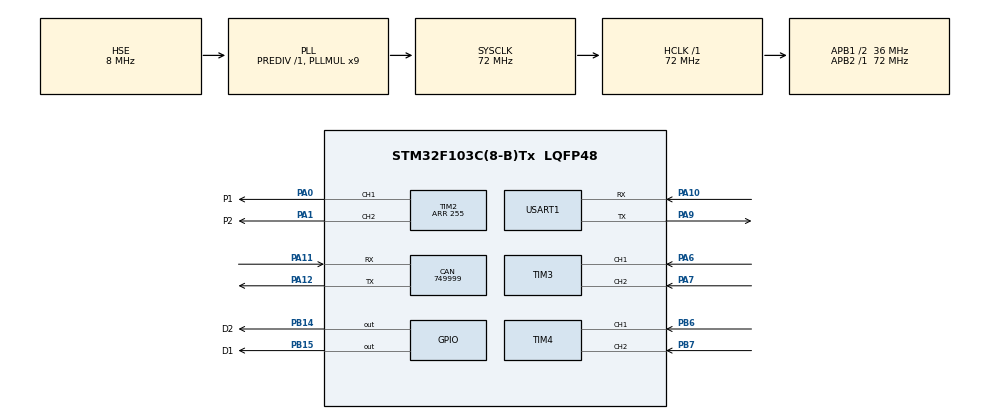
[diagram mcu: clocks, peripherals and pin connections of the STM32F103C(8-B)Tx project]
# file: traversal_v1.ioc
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CAN.BS1=CAN_BS1_1TQ
CAN.BS2=CAN_BS2_1TQ
CAN.CalculateBaudRate=749999
CAN.CalculateTimeBit=1333
CAN.CalculateTimeQuantum=444.44444444444446
Dma.Request0=USART1_RX
Dma.USART1_RX.0.Direction=DMA_PERIPH_TO_MEMORY
Dma.USART1_RX.0.Instance=DMA1_Channel5
Dma.USART1_RX.0.MemDataAlignment=DMA_MDATAALIGN_BYTE
Dma.USART1_RX.0.MemInc=DMA_MINC_ENABLE
Dma.USART1_RX.0.Mode=DMA_CIRCULAR
Dma.USART1_RX.0.PeriphDataAlignment=DMA_PDATAALIGN_BYTE
Dma.USART1_RX.0.PeriphInc=DMA_PINC_DISABLE
Dma.USART1_RX.0.Priority=DMA_PRIORITY_LOW
Mcu.Family=STM32F1
Mcu.Name=STM32F103C(8-B)Tx
Mcu.Package=LQFP48
NVIC.DMA1_Channel5_IRQn=true\:0\:0\:false\:false\:true\:false\:true\:true
NVIC.PriorityGroup=NVIC_PRIORITYGROUP_4
PA0-WKUP.GPIO_Label=P1
PA0-WKUP.Signal=S_TIM2_CH1_ETR
PA1.GPIO_Label=P2
PA1.Signal=S_TIM2_CH2
PA10.Mode=Asynchronous
PA10.Signal=USART1_RX
PA11.Mode=CAN_Activate
PA11.Signal=CAN_RX
PA12.Mode=CAN_Activate
PA12.Signal=CAN_TX
PA13.Mode=Serial_Wire
PA13.Signal=SYS_JTMS-SWDIO
PA14.Mode=Serial_Wire
PA14.Signal=SYS_JTCK-SWCLK
PA6.GPIO_PuPd=GPIO_PULLUP
PA6.Signal=S_TIM3_CH1
PA7.GPIO_PuPd=GPIO_PULLUP
PA7.Signal=S_TIM3_CH2
PA9.Mode=Asynchronous
PA9.Signal=USART1_TX
PB14.GPIO_Label=D2
PB14.Signal=GPIO_Output
PB15.GPIO_Label=D1
PB15.Signal=GPIO_Output
PB6.GPIO_PuPd=GPIO_PULLUP
PB6.Signal=S_TIM4_CH1
PB7.GPIO_PuPd=GPIO_PULLUP
PB7.Signal=S_TIM4_CH2
PD0-OSC_IN.Mode=HSE-External-Oscillator
PD0-OSC_IN.Signal=RCC_OSC_IN
PD1-OSC_OUT.Mode=HSE-External-Oscillator
PD1-OSC_OUT.Signal=RCC_OSC_OUT
ProjectManager.HeapSize=0x200
ProjectManager.StackSize=0x400
ProjectManager.TargetToolchain=STM32CubeIDE
RCC.AHBFreq_Value=72000000
RCC.APB1CLKDivider=RCC_HCLK_DIV2
RCC.APB1Freq_Value=36000000
RCC.APB1TimFreq_Value=72000000
RCC.APB2Freq_Value=72000000
RCC.APB2TimFreq_Value=72000000
RCC.HCLKFreq_Value=72000000
RCC.PLLMUL=RCC_PLL_MUL9
RCC.PLLSourceVirtual=RCC_PLLSOURCE_HSE
RCC.SYSCLKFreq_VALUE=72000000
RCC.SYSCLKSource=RCC_SYSCLKSOURCE_PLLCLK
RCC.USBFreq_Value=72000000
SH.S_TIM2_CH1_ETR.0=TIM2_CH1,PWM Generation1 CH1
SH.S_TIM2_CH2.0=TIM2_CH2,PWM Generation2 CH2
SH.S_TIM3_CH1.0=TIM3_CH1,Encoder_Interface
SH.S_TIM3_CH2.0=TIM3_CH2,Encoder_Interface
SH.S_TIM4_CH1.0=TIM4_CH1,Encoder_Interface
SH.S_TIM4_CH2.0=TIM4_CH2,Encoder_Interface
TIM1.Prescaler=71
TIM2.AutoReloadPreload=TIM_AUTORELOAD_PRELOAD_ENABLE
TIM2.Channel-PWM\ Generation1\ CH1=TIM_CHANNEL_1
TIM2.Channel-PWM\ Generation2\ CH2=TIM_CHANNEL_2
TIM2.Period=255
USART1.VirtualMode=VM_ASYNC
VP_TIM1_VS_ClockSourceINT.Mode=Internal
VP_TIM2_VS_ClockSourceINT.Mode=Internal
board=custom

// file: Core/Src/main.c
/* USER CODE BEGIN Header */
/**
  ******************************************************************************
  * @file           : main.c
  * @brief          : Main program body
  ******************************************************************************
  * @attention
  *
  * Copyright (c) 2025 STMicroelectronics.
  * All rights reserved.
  *
  * This software is licensed under terms that can be found in the LICENSE file
  * in the root directory of this software component.
  * If no LICENSE file comes with this software, it is provided AS-IS.
  *
  ******************************************************************************
  */
/* USER CODE END Header */
#include "main.h"

/* USER CODE BEGIN PD */
#define ENCODER_GEAR 9.0f
#define WHEEL_GEAR   108.0f
/* USER CODE END PD */

CAN_HandleTypeDef hcan;

TIM_HandleTypeDef htim1;
TIM_HandleTypeDef htim2;
TIM_HandleTypeDef htim3;
TIM_HandleTypeDef htim4;

UART_HandleTypeDef huart1;
DMA_HandleTypeDef hdma_usart1_rx;

/* USER CODE BEGIN PV */
volatile uint8_t UART1_rxBuffer[2];

volatile uint32_t tick_stack_TIM3[2] = {0, 0};
volatile uint32_t TIM3_CNT_stack[2] = {0, 0};

volatile uint32_t tick_stack_TIM4[2] = {0, 0};
volatile uint32_t TIM4_CNT_stack[2] = {0, 0};

uint32_t RPM_A;
uint32_t RPM_B;

/* USER CODE END PV */

void SystemClock_Config(void);
static void MX_GPIO_Init(void);
static void MX_DMA_Init(void);
static void MX_CAN_Init(void);
static void MX_TIM2_Init(void);
static void MX_TIM3_Init(void);
static void MX_TIM4_Init(void);
static void MX_USART1_UART_Init(void);
static void MX_TIM1_Init(void);

/* USER CODE BEGIN 0 */
//void HAL_UART_RxCpltCallback(UART_HandleTypeDef *huart) {
//	if (huart->Instance == USART1) {
//	    HAL_UART_Transmit(&huart1, UART1_rxBuffer, 2, HAL_MAX_DELAY);
//
//	}
//}

void setMotor(uint8_t joystick[2]) {
    int x = (int)joystick[0] - 127;
    int y = (int)joystick[1] - 127;

    if (abs(y) > abs(x)) {
        // forward / backward
        if (y > 0) {
            HAL_GPIO_WritePin(GPIOB, GPIO_PIN_15, GPIO_PIN_RESET);
            HAL_GPIO_WritePin(GPIOB, GPIO_PIN_14, GPIO_PIN_RESET);// FORWARD
            TIM2->CCR1 = 2 * abs(y);
            TIM2->CCR2 = 2 * abs(y);// speed = y
        } else {
        	HAL_GPIO_WritePin(GPIOB, GPIO_PIN_15, GPIO_PIN_SET);
			HAL_GPIO_WritePin(GPIOB, GPIO_PIN_14, GPIO_PIN_SET);// BACKWARD
			TIM2->CCR1 = 2 * abs(y);
			TIM2->CCR2 = 2 * abs(y);// speed = -y
        }
    } else if (abs(x) > abs(y)) {
        // rotation
        if (x > 0) {
        	HAL_GPIO_WritePin(GPIOB, GPIO_PIN_15, GPIO_PIN_RESET);
			HAL_GPIO_WritePin(GPIOB, GPIO_PIN_14, GPIO_PIN_SET);// CW
			TIM2->CCR1 = 2 * abs(x);
			TIM2->CCR2 = 2 * abs(x);// speed = x
        } else {
        	HAL_GPIO_WritePin(GPIOB, GPIO_PIN_15, GPIO_PIN_SET);
			HAL_GPIO_WritePin(GPIOB, GPIO_PIN_14, GPIO_PIN_RESET);// CCW
			TIM2->CCR1 = 2 * abs(x);
			TIM2->CCR2 = 2 * abs(x);// speed = -x
        }
    } else {
    	TIM2->CCR1 = 0;
		TIM2->CCR2 = 0;
    }
}

int pwmL;
int pwmR;
int max;

//void setMotorDifferential(volatile uint8_t joystick[2]) {
//    int x = (int)joystick[0] - 127;
//    int y = (int)joystick[1] - 127;
//
//	pwmL = abs(2 * (y - x));
//	pwmR = abs(2 * (y + x));
//
//	if (pwmL > 255) pwmL = 255;
//	if (pwmR > 255) pwmR = 255;
//
////    pwmL = abs(y - x);
////    pwmR = abs(y + x);
//
//	TIM2->CCR2 = pwmL;
//	TIM2->CCR1 = pwmR;
//
//	if (y >= 0) {
//		HAL_GPIO_WritePin(GPIOB, GPIO_PIN_15, GPIO_PIN_RESET);
//		HAL_GPIO_WritePin(GPIOB, GPIO_PIN_14, GPIO_PIN_RESET);// FORWARD
//	} else {
//		HAL_GPIO_WritePin(GPIOB, GPIO_PIN_15, GPIO_PIN_SET);
//		HAL_GPIO_WritePin(GPIOB, GPIO_PIN_14, GPIO_PIN_SET);// BACKWARD
//	}
//}

void setMotorDifferential(volatile uint8_t joystick[2]) {
    int x = (int)joystick[0] - 127;
    int y = (int)joystick[1] - 127;

    pwmL = y;
    pwmR = y;

    if (y >= 0) {
        HAL_GPIO_WritePin(GPIOB, GPIO_PIN_15, GPIO_PIN_RESET);
        HAL_GPIO_WritePin(GPIOB, GPIO_PIN_14, GPIO_PIN_RESET);
        if (x > 0) {
			pwmR -= x;
		} else if (x < 0) {
			pwmL += x;
		}
    } else {
        HAL_GPIO_WritePin(GPIOB, GPIO_PIN_15, GPIO_PIN_SET);
        HAL_GPIO_WritePin(GPIOB, GPIO_PIN_14, GPIO_PIN_SET);
        if (x > 0) {
			pwmR += x;
		} else if (x < 0) {
			pwmL -= x;
		}
    }

    if (pwmL > 255) pwmL = 255;
	if (pwmR > 255) pwmR = 255;

	TIM2->CCR1 = abs(pwmL * 2);
	TIM2->CCR2 = abs(pwmR * 2);
}

#define RPM_SAMPLE_PERIOD_US 2000

void updateAndCapture(volatile uint32_t tick_stack[2],
					  volatile uint32_t TIMx_CNT_stack[2],
					  TIM_TypeDef *tick_TIMx,
					  TIM_TypeDef *enc_TIMx)
{
	static uint32_t last_sample_us = 0;
	uint32_t now = tick_TIMx->CNT;
	if ((uint32_t)(now - last_sample_us) < RPM_SAMPLE_PERIOD_US) return;
	last_sample_us = now;

	tick_stack[1] = tick_stack[0];
	TIMx_CNT_stack[1] = TIMx_CNT_stack[0];
	tick_stack[0] = tick_TIMx->CNT;
	TIMx_CNT_stack[0] = enc_TIMx->CNT;
}

//void updateAndCapture(volatile uint32_t tick_stack[2],
//					  volatile uint32_t TIMx_CNT_stack[2],
//					  TIM_TypeDef *tick_TIMx,
//					  TIM_TypeDef *enc_TIMx)
//{
//	tick_stack[1] = tick_stack[0];
//	TIMx_CNT_stack[1] = TIMx_CNT_stack[0];
//	tick_stack[0] = tick_TIMx->CNT;
//	TIMx_CNT_stack[0] = enc_TIMx->CNT;
//}

uint32_t calculateRPM(volatile uint32_t tick_stack[2],
					  volatile uint32_t cnt_stack[2],
					  int PPR,
					  float encoder_gear_ratio,
					  float wheel_gear_ratio)
{
    uint32_t dt_us = tick_stack[0] - tick_stack[1];
    uint32_t dc    = cnt_stack[0]  - cnt_stack[1];

    if (dt_us == 0) return 0;

    // RPM = (dc * 60 * 1e6) / (PPR * dt_us)
    uint32_t rpm_encoder = (dc * 60000000UL) / (PPR * dt_us);

    // motor RPM (undo encoder gearbox)
    float rpm_motor = rpm_encoder * encoder_gear_ratio;

    // wheel RPM (apply wheel gearbox)
    float rpm_wheel = rpm_motor / wheel_gear_ratio;

    return (uint32_t)rpm_wheel;
}

/* USER CODE END 0 */

int main(void)
{

  /* MCU Configuration--------------------------------------------------------*/

  /* Reset of all peripherals, Initializes the Flash interface and the Systick. */
  HAL_Init();

  /* Configure the system clock */
  SystemClock_Config();

  /* Initialize all configured peripherals */
  MX_GPIO_Init();
  MX_DMA_Init();
  MX_CAN_Init();
  MX_TIM2_Init();
  MX_TIM3_Init();
  MX_TIM4_Init();
  MX_USART1_UART_Init();
  MX_TIM1_Init();
  /* USER CODE BEGIN 2 */
  HAL_UART_Receive_DMA(&huart1, UART1_rxBuffer, 2);
  HAL_TIM_PWM_Start(&htim2, TIM_CHANNEL_1);
  HAL_TIM_PWM_Start(&htim2, TIM_CHANNEL_2);
  HAL_TIM_Encoder_Start(&htim3, TIM_CHANNEL_ALL);
  HAL_TIM_Encoder_Start(&htim4, TIM_CHANNEL_ALL);
  HAL_TIM_Base_Start(&htim1);

  TIM2->CCR1 = 0; //left
  TIM2->CCR2 = 0; //right

  /* USER CODE END 2 */

  /* Infinite loop */
  while (1)
  {

    /* USER CODE BEGIN 3 */
//	  setMotor(UART1_rxBuffer);
	  setMotor(UART1_rxBuffer);
	  //note: 72MHz clk -> 1 tick = 13.88 ns, 1us = 72 ticks. tick_stack[0] = current tick, tick_stack[1] = previous tick
	  updateAndCapture(tick_stack_TIM3, TIM3_CNT_stack, TIM1, TIM3);
	  updateAndCapture(tick_stack_TIM4, TIM4_CNT_stack, TIM1, TIM4);

	  RPM_A = calculateRPM(tick_stack_TIM3, TIM3_CNT_stack, 600, ENCODER_GEAR, WHEEL_GEAR);
	  RPM_B = calculateRPM(tick_stack_TIM4, TIM4_CNT_stack, 600, ENCODER_GEAR, WHEEL_GEAR);

  }
  /* USER CODE END 3 */
}

void SystemClock_Config(void)
{
  RCC_OscInitTypeDef RCC_OscInitStruct = {0};
  RCC_ClkInitTypeDef RCC_ClkInitStruct = {0};

  /** Initializes the RCC Oscillators according to the specified parameters
  * in the RCC_OscInitTypeDef structure.
  */
  RCC_OscInitStruct.OscillatorType = RCC_OSCILLATORTYPE_HSE;
  RCC_OscInitStruct.HSEState = RCC_HSE_ON;
  RCC_OscInitStruct.HSEPredivValue = RCC_HSE_PREDIV_DIV1;
  RCC_OscInitStruct.HSIState = RCC_HSI_ON;
  RCC_OscInitStruct.PLL.PLLState = RCC_PLL_ON;
  RCC_OscInitStruct.PLL.PLLSource = RCC_PLLSOURCE_HSE;
  RCC_OscInitStruct.PLL.PLLMUL = RCC_PLL_MUL9;
  if (HAL_RCC_OscConfig(&RCC_OscInitStruct) != HAL_OK)
  {
    Error_Handler();
  }

  /** Initializes the CPU, AHB and APB buses clocks
  */
  RCC_ClkInitStruct.ClockType = RCC_CLOCKTYPE_HCLK|RCC_CLOCKTYPE_SYSCLK
                              |RCC_CLOCKTYPE_PCLK1|RCC_CLOCKTYPE_PCLK2;
  RCC_ClkInitStruct.SYSCLKSource = RCC_SYSCLKSOURCE_PLLCLK;
  RCC_ClkInitStruct.AHBCLKDivider = RCC_SYSCLK_DIV1;
  RCC_ClkInitStruct.APB1CLKDivider = RCC_HCLK_DIV2;
  RCC_ClkInitStruct.APB2CLKDivider = RCC_HCLK_DIV1;

  if (HAL_RCC_ClockConfig(&RCC_ClkInitStruct, FLASH_LATENCY_2) != HAL_OK)
  {
    Error_Handler();
  }
}

static void MX_CAN_Init(void)
{

  hcan.Instance = CAN1;
  hcan.Init.Prescaler = 16;
  hcan.Init.Mode = CAN_MODE_NORMAL;
  hcan.Init.SyncJumpWidth = CAN_SJW_1TQ;
  hcan.Init.TimeSeg1 = CAN_BS1_1TQ;
  hcan.Init.TimeSeg2 = CAN_BS2_1TQ;
  hcan.Init.TimeTriggeredMode = DISABLE;
  hcan.Init.AutoBusOff = DISABLE;
  hcan.Init.AutoWakeUp = DISABLE;
  hcan.Init.AutoRetransmission = DISABLE;
  hcan.Init.ReceiveFifoLocked = DISABLE;
  hcan.Init.TransmitFifoPriority = DISABLE;
  if (HAL_CAN_Init(&hcan) != HAL_OK)
  {
    Error_Handler();
  }

}

static void MX_TIM1_Init(void)
{

  TIM_ClockConfigTypeDef sClockSourceConfig = {0};
  TIM_MasterConfigTypeDef sMasterConfig = {0};

  htim1.Instance = TIM1;
  htim1.Init.Prescaler = 71;
  htim1.Init.CounterMode = TIM_COUNTERMODE_UP;
  htim1.Init.Period = 65535;
  htim1.Init.ClockDivision = TIM_CLOCKDIVISION_DIV1;
  htim1.Init.RepetitionCounter = 0;
  htim1.Init.AutoReloadPreload = TIM_AUTORELOAD_PRELOAD_DISABLE;
  if (HAL_TIM_Base_Init(&htim1) != HAL_OK)
  {
    Error_Handler();
  }
  sClockSourceConfig.ClockSource = TIM_CLOCKSOURCE_INTERNAL;
  if (HAL_TIM_ConfigClockSource(&htim1, &sClockSourceConfig) != HAL_OK)
  {
    Error_Handler();
  }
  sMasterConfig.MasterOutputTrigger = TIM_TRGO_RESET;
  sMasterConfig.MasterSlaveMode = TIM_MASTERSLAVEMODE_DISABLE;
  if (HAL_TIMEx_MasterConfigSynchronization(&htim1, &sMasterConfig) != HAL_OK)
  {
    Error_Handler();
  }

}

static void MX_TIM2_Init(void)
{

  TIM_ClockConfigTypeDef sClockSourceConfig = {0};
  TIM_MasterConfigTypeDef sMasterConfig = {0};
  TIM_OC_InitTypeDef sConfigOC = {0};

  htim2.Instance = TIM2;
  htim2.Init.Prescaler = 0;
  htim2.Init.CounterMode = TIM_COUNTERMODE_UP;
  htim2.Init.Period = 255;
  htim2.Init.ClockDivision = TIM_CLOCKDIVISION_DIV1;
  htim2.Init.AutoReloadPreload = TIM_AUTORELOAD_PRELOAD_ENABLE;
  if (HAL_TIM_Base_Init(&htim2) != HAL_OK)
  {
    Error_Handler();
  }
  sClockSourceConfig.ClockSource = TIM_CLOCKSOURCE_INTERNAL;
  if (HAL_TIM_ConfigClockSource(&htim2, &sClockSourceConfig) != HAL_OK)
  {
    Error_Handler();
  }
  if (HAL_TIM_PWM_Init(&htim2) != HAL_OK)
  {
    Error_Handler();
  }
  sMasterConfig.MasterOutputTrigger = TIM_TRGO_RESET;
  sMasterConfig.MasterSlaveMode = TIM_MASTERSLAVEMODE_DISABLE;
  if (HAL_TIMEx_MasterConfigSynchronization(&htim2, &sMasterConfig) != HAL_OK)
  {
    Error_Handler();
  }
  sConfigOC.OCMode = TIM_OCMODE_PWM1;
  sConfigOC.Pulse = 0;
  sConfigOC.OCPolarity = TIM_OCPOLARITY_HIGH;
  sConfigOC.OCFastMode = TIM_OCFAST_DISABLE;
  if (HAL_TIM_PWM_ConfigChannel(&htim2, &sConfigOC, TIM_CHANNEL_1) != HAL_OK)
  {
    Error_Handler();
  }
  if (HAL_TIM_PWM_ConfigChannel(&htim2, &sConfigOC, TIM_CHANNEL_2) != HAL_OK)
  {
    Error_Handler();
  }
  HAL_TIM_MspPostInit(&htim2);

}

static void MX_TIM3_Init(void)
{

  TIM_Encoder_InitTypeDef sConfig = {0};
  TIM_MasterConfigTypeDef sMasterConfig = {0};

  htim3.Instance = TIM3;
  htim3.Init.Prescaler = 0;
  htim3.Init.CounterMode = TIM_COUNTERMODE_UP;
  htim3.Init.Period = 65535;
  htim3.Init.ClockDivision = TIM_CLOCKDIVISION_DIV1;
  htim3.Init.AutoReloadPreload = TIM_AUTORELOAD_PRELOAD_DISABLE;
  sConfig.EncoderMode = TIM_ENCODERMODE_TI1;
  sConfig.IC1Polarity = TIM_ICPOLARITY_RISING;
  sConfig.IC1Selection = TIM_ICSELECTION_DIRECTTI;
  sConfig.IC1Prescaler = TIM_ICPSC_DIV1;
  sConfig.IC1Filter = 0;
  sConfig.IC2Polarity = TIM_ICPOLARITY_RISING;
  sConfig.IC2Selection = TIM_ICSELECTION_DIRECTTI;
  sConfig.IC2Prescaler = TIM_ICPSC_DIV1;
  sConfig.IC2Filter = 0;
  if (HAL_TIM_Encoder_Init(&htim3, &sConfig) != HAL_OK)
  {
    Error_Handler();
  }
  sMasterConfig.MasterOutputTrigger = TIM_TRGO_RESET;
  sMasterConfig.MasterSlaveMode = TIM_MASTERSLAVEMODE_DISABLE;
  if (HAL_TIMEx_MasterConfigSynchronization(&htim3, &sMasterConfig) != HAL_OK)
  {
    Error_Handler();
  }

}

static void MX_TIM4_Init(void)
{

  TIM_Encoder_InitTypeDef sConfig = {0};
  TIM_MasterConfigTypeDef sMasterConfig = {0};

  htim4.Instance = TIM4;
  htim4.Init.Prescaler = 0;
  htim4.Init.CounterMode = TIM_COUNTERMODE_UP;
  htim4.Init.Period = 65535;
  htim4.Init.ClockDivision = TIM_CLOCKDIVISION_DIV1;
  htim4.Init.AutoReloadPreload = TIM_AUTORELOAD_PRELOAD_DISABLE;
  sConfig.EncoderMode = TIM_ENCODERMODE_TI1;
  sConfig.IC1Polarity = TIM_ICPOLARITY_RISING;
  sConfig.IC1Selection = TIM_ICSELECTION_DIRECTTI;
  sConfig.IC1Prescaler = TIM_ICPSC_DIV1;
  sConfig.IC1Filter = 0;
  sConfig.IC2Polarity = TIM_ICPOLARITY_RISING;
  sConfig.IC2Selection = TIM_ICSELECTION_DIRECTTI;
  sConfig.IC2Prescaler = TIM_ICPSC_DIV1;
  sConfig.IC2Filter = 0;
  if (HAL_TIM_Encoder_Init(&htim4, &sConfig) != HAL_OK)
  {
    Error_Handler();
  }
  sMasterConfig.MasterOutputTrigger = TIM_TRGO_RESET;
  sMasterConfig.MasterSlaveMode = TIM_MASTERSLAVEMODE_DISABLE;
  if (HAL_TIMEx_MasterConfigSynchronization(&htim4, &sMasterConfig) != HAL_OK)
  {
    Error_Handler();
  }

}

static void MX_USART1_UART_Init(void)
{

  huart1.Instance = USART1;
  huart1.Init.BaudRate = 115200;
  huart1.Init.WordLength = UART_WORDLENGTH_8B;
  huart1.Init.StopBits = UART_STOPBITS_1;
  huart1.Init.Parity = UART_PARITY_NONE;
  huart1.Init.Mode = UART_MODE_TX_RX;
  huart1.Init.HwFlowCtl = UART_HWCONTROL_NONE;
  huart1.Init.OverSampling = UART_OVERSAMPLING_16;
  if (HAL_UART_Init(&huart1) != HAL_OK)
  {
    Error_Handler();
  }

}

static void MX_DMA_Init(void)
{

  /* DMA controller clock enable */
  __HAL_RCC_DMA1_CLK_ENABLE();

  /* DMA interrupt init */
  /* DMA1_Channel5_IRQn interrupt configuration */
  HAL_NVIC_SetPriority(DMA1_Channel5_IRQn, 0, 0);
  HAL_NVIC_EnableIRQ(DMA1_Channel5_IRQn);

}

static void MX_GPIO_Init(void)
{
  GPIO_InitTypeDef GPIO_InitStruct = {0};

  /* GPIO Ports Clock Enable */
  __HAL_RCC_GPIOD_CLK_ENABLE();
  __HAL_RCC_GPIOA_CLK_ENABLE();
  __HAL_RCC_GPIOB_CLK_ENABLE();

  /*Configure GPIO pin Output Level */
  HAL_GPIO_WritePin(GPIOB, D2_Pin|D1_Pin, GPIO_PIN_RESET);

  /*Configure GPIO pins : D2_Pin D1_Pin */
  GPIO_InitStruct.Pin = D2_Pin|D1_Pin;
  GPIO_InitStruct.Mode = GPIO_MODE_OUTPUT_PP;
  GPIO_InitStruct.Pull = GPIO_NOPULL;
  GPIO_InitStruct.Speed = GPIO_SPEED_FREQ_LOW;
  HAL_GPIO_Init(GPIOB, &GPIO_InitStruct);

}

void Error_Handler(void)
{
  __disable_irq();
  while (1)
  {
  }
}
